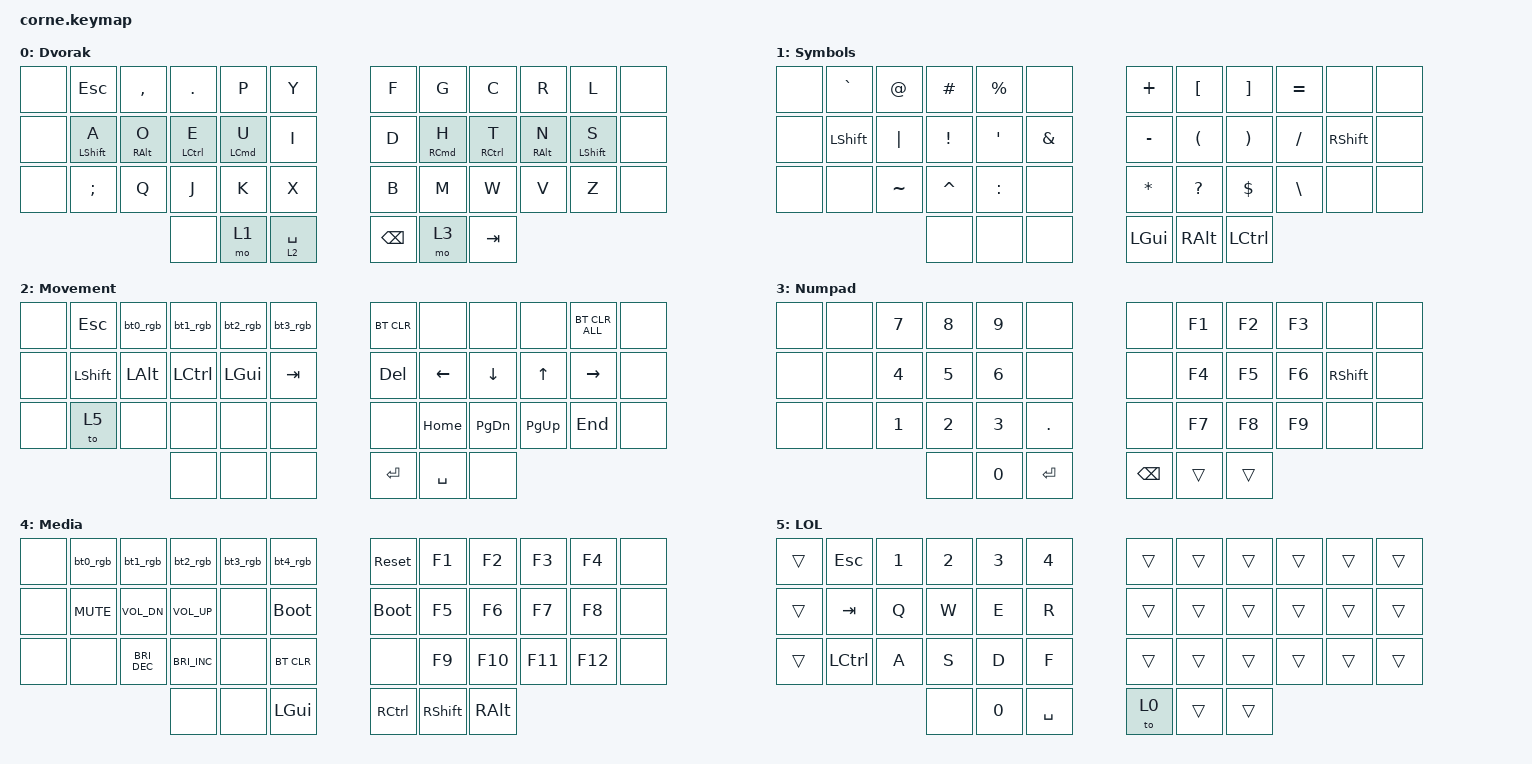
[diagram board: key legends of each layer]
/*
 * Copyright (c) 2020 The ZMK Contributors
 *
 * SPDX-License-Identifier: MIT
 */

#include <behaviors.dtsi>
#include <dt-bindings/zmk/bt.h>
#include <dt-bindings/zmk/keys.h>
#include <dt-bindings/zmk/rgb.h>

&mt {
    flavor = "tap-preferred";
    retro-tap;
};

/ {
    behaviors {
        bt0_rgb: bt0_rgb {
            compatible = "zmk,behavior-macro";
            #binding-cells = <0>;
            bindings = <&bt BT_SEL 0 &rgb_ug RGB_COLOR_HSB(300,100,5)>;
        };

        bt1_rgb: bt1_rgb {
            compatible = "zmk,behavior-macro";
            #binding-cells = <0>;
            bindings = <&bt BT_SEL 1 &rgb_ug RGB_COLOR_HSB(180,100,5)>;
        };

        bt2_rgb: bt2_rgb {
            compatible = "zmk,behavior-macro";
            #binding-cells = <0>;
            bindings = <&bt BT_SEL 2 &rgb_ug RGB_COLOR_HSB(0,100,5)>;
        };

        bt3_rgb: bt3_rgb {
            compatible = "zmk,behavior-macro";
            #binding-cells = <0>;
            bindings = <&bt BT_SEL 3 &rgb_ug RGB_COLOR_HSB(120,100,5)>;
        };

        bt4_rgb: bt4_rgb {
            compatible = "zmk,behavior-macro";
            #binding-cells = <0>;
            bindings = <&bt BT_SEL 4 &rgb_ug RGB_COLOR_HSB(45,100,5)>;
        };
    };

    macros {
    };

    keymap {
        compatible = "zmk,keymap";

        Main {
            // -----------------------------------------------------------------------------------------
            // |  TAB |  Q  |  W  |  E  |  R  |  T  |   |  Y  |  U   |  I  |  O  |  P  | BKSP |
            // | CTRL |  A  |  S  |  D  |  F  |  G  |   |  H  |  J   |  K  |  L  |  ;  |  '   |
            // | SHFT |  Z  |  X  |  C  |  V  |  B  |   |  N  |  M   |  ,  |  .  |  /  | ESC  |
            //                    | GUI | LWR | SPC |   | ENT | RSE  | ALT |

            bindings = <
&none  &kp ESC           &kp COMMA        &kp DOT             &kp P               &kp Y          &kp F          &kp G                &kp C                &kp R            &kp L             &none
&none  &mt LEFT_SHIFT A  &mt RIGHT_ALT O  &mt LEFT_CONTROL E  &mt LEFT_COMMAND U  &kp I          &kp D          &mt RIGHT_COMMAND H  &mt RIGHT_CONTROL T  &mt RIGHT_ALT N  &mt LEFT_SHIFT S  &none
&none  &kp SEMI          &kp Q            &kp J               &kp K               &kp X          &kp B          &kp M                &kp W                &kp V            &kp Z             &none
                                          &none               &mo 1               &lt 2 SPACE    &kp BACKSPACE  &mo 3                &kp TAB
            >;

            label = "Dvorak";
        };

        S1 {
            bindings = <
&none  &kp GRAVE       &kp AT     &kp HASH   &kp PERCENT  &none       &kp PLUS      &kp LEFT_BRACKET      &kp RIGHT_BRACKET      &kp EQUAL      &none            &none
&none  &kp LEFT_SHIFT  &kp PIPE   &kp EXCL   &kp APOS     &kp AMPS    &kp MINUS     &kp LEFT_PARENTHESIS  &kp RIGHT_PARENTHESIS  &kp SLASH      &kp RIGHT_SHIFT  &none
&none  &none           &kp TILDE  &kp CARET  &kp COLON    &none       &kp ASTRK     &kp QUESTION          &kp DOLLAR             &kp BACKSLASH  &none            &none
                                  &none      &none        &none       &kp LEFT_GUI  &kp RALT              &kp LEFT_CONTROL
            >;

            label = "Symbols";
        };

        Movement {
            bindings = <
&none  &kp ESC    &bt0_rgb      &bt1_rgb          &bt2_rgb      &bt3_rgb        &bt BT_CLR  &none      &none          &none        &bt BT_CLR_ALL  &none
&none  &kp LSHFT  &kp LEFT_ALT  &kp LEFT_CONTROL  &kp LGUI      &kp TAB         &kp DELETE  &kp LEFT   &kp DOWN       &kp UP       &kp RIGHT       &none
&none  &to 5      &none         &none             &none         &none           &none       &kp HOME   &kp PAGE_DOWN  &kp PAGE_UP  &kp END         &none
                                &none             &none         &none           &kp ENTER   &kp SPACE  &none
            >;

            label = "Movement";
        };

        Numpad {
            bindings = <
&none  &none  &kp N7        &kp N8        &kp N9        &none        &none          &kp F1  &kp F2  &kp F3  &none            &none
&none  &none  &kp NUMBER_4  &kp N5        &kp NUMBER_6  &none        &none          &kp F4  &kp F5  &kp F6  &kp RIGHT_SHIFT  &none
&none  &none  &kp N1        &kp NUMBER_2  &kp NUMBER_3  &kp DOT      &none          &kp F7  &kp F8  &kp F9  &none            &none
                            &none         &kp N0        &kp ENTER    &kp BACKSPACE  &trans  &trans
            >;

            label = "Numpad";
        };

        Media {
            bindings = <
&none  &bt0_rgb    &bt1_rgb       &bt2_rgb       &bt3_rgb  &bt4_rgb        &sys_reset         &kp F1           &kp F2         &kp F3   &kp F4   &none
&none  &kp K_MUTE  &kp C_VOL_DN   &kp C_VOL_UP   &none     &bootloader     &bootloader        &kp F5           &kp F6         &kp F7   &kp F8   &none
&none  &none       &kp C_BRI_DEC  &kp C_BRI_INC  &none     &bt BT_CLR      &none              &kp F9           &kp F10        &kp F11  &kp F12  &none
                                  &none          &none     &kp LEFT_GUI    &kp RIGHT_CONTROL  &kp RIGHT_SHIFT  &kp RIGHT_ALT
            >;

            label = "Media";
        };

        Gaming {
            bindings = <
&trans  &kp ESC     &kp N1  &kp N2  &kp N3     &kp N4       &trans  &trans  &trans  &trans  &trans  &trans
&trans  &kp TAB     &kp Q   &kp W   &kp E      &kp R        &trans  &trans  &trans  &trans  &trans  &trans
&trans  &kp LCTRL   &kp A   &kp S   &kp D      &kp F        &trans  &trans  &trans  &trans  &trans  &trans
                            &none   &kp N0     &kp SPACE    &to 0   &trans  &trans
            >;

            label = "LOL";
        };
    };

    conditional_layers { compatible = "zmk,conditional-layers"; };
};
